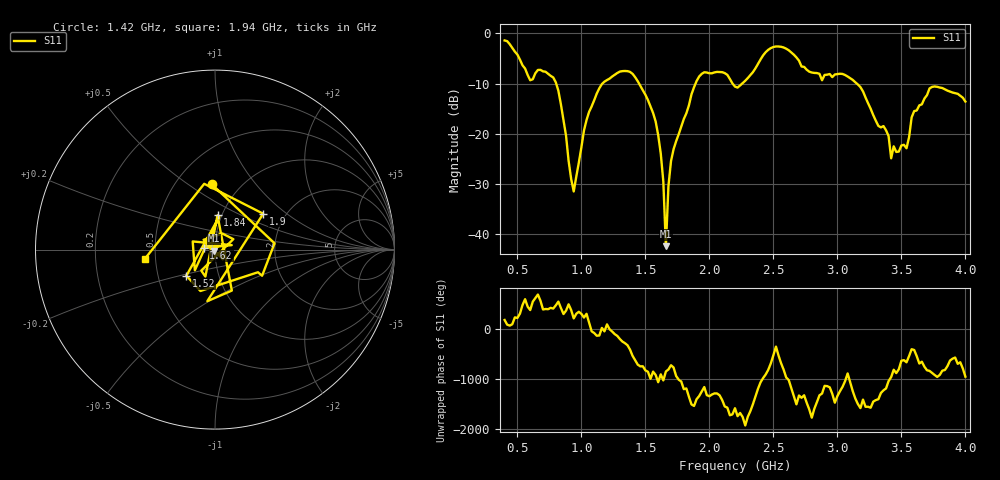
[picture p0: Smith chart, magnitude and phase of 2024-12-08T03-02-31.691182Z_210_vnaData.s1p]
!Created with skrf (http://scikit-rf.org).
# Hz S RI R 50.0
!freq ReS11 ImS11
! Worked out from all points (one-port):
!   181 points, 400 MHz to 4 GHz, reference 50 ohm
!   lowest |S11| = -42.5 dB at 1.66 GHz (marker M1), VSWR 1.02, Z = 49.5 - j0.563 ohm
!   |S11| at or under -10 dB: 802.9 MHz to 1.165 GHz (361.8 MHz wide, 36.8 % of centre); 1.45 GHz to 1.892 GHz (441.8 MHz wide, 26.4 % of centre); 3.151 GHz to end of sweep (the widest 3 of 4)
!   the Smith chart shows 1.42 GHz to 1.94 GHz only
!   S11 on the Smith chart (normalised r, x): 1.42 GHz: 0.74, +0.62; 1.52 GHz: 0.70, -0.21; 1.62 GHz: 0.88, +0.02; 1.84 GHz: 0.95, +0.38; 1.9 GHz: 1.54, +0.70; 1.94 GHz: 0.44, -0.05
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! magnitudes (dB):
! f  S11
! 400 MHz  -1.4
! 600 MHz  -9.3
! 780 MHz  -8.8
! 860 MHz  -17.3
! 940 MHz  -31.5
! 1.06 GHz  -15.7
! 1.3 GHz  -7.6
! 1.42 GHz  -8.7
! 1.52 GHz  -13.3
! 1.62 GHz  -24.0
! 1.64 GHz  -29.6
! 1.66 GHz  -42.5
! 1.68 GHz  -30.4
! 1.7 GHz  -25.5
! 1.76 GHz  -20.1
! 1.84 GHz  -14.3
! 1.9 GHz  -9.5
! 1.94 GHz  -8.1
! 2.2 GHz  -10.6
! 2.48 GHz  -2.9
! 2.66 GHz  -4.2
! 3.1 GHz  -8.9
! 3.38 GHz  -19.3
! 3.42 GHz  -24.9
! 3.56 GHz  -20.7
! 3.6 GHz  -15.5
! 3.72 GHz  -11.0
! 4 GHz  -13.6
